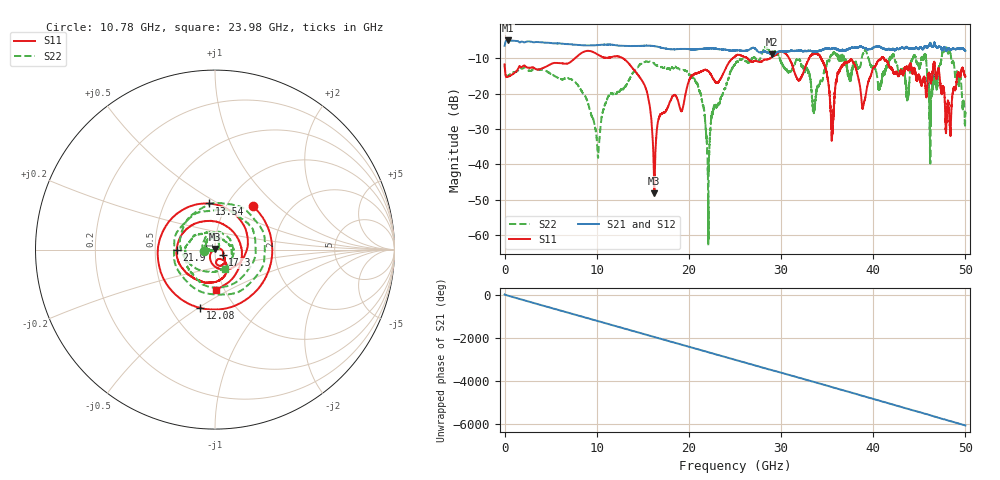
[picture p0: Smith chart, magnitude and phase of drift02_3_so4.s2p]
!Created with skrf (http://scikit-rf.org).
# Hz S RI R 50.0
!freq ReS11 ImS11 ReS21 ImS21 ReS12 ImS12 ReS22 ImS22
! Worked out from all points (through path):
!   10001 points, 300 kHz to 50 GHz, reference 50 ohm
!   highest |S21| = -5.04 dB at 325.3 MHz (marker M1); lowest = -8.9 dB at 28.98 GHz (marker M2)
!   group delay of S21, straight-line fit = 336 ps
!   lowest |S11| = -48.1 dB at 16.25 GHz (marker M3), VSWR 1.01, Z = 49.8 + j0.313 ohm
!   |S11| at or under -10 dB: start of sweep to 7.668 GHz; 12.81 GHz to 24.79 GHz (11.98 GHz wide, 63.7 % of centre); 41.13 GHz to end of sweep (the widest 3 of 9)
!   |S22| runs from -63.1 to -6.9 dB; largest |S21 - S12| = 0.033
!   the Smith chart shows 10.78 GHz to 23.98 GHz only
!   S11 on the Smith chart (normalised r, x): 10.78 GHz: 1.32, +0.71; 12.08 GHz: 0.70, -0.51; 13.54 GHz: 0.82, +0.45; 17.3 GHz: 1.09, -0.07; 21.9 GHz: 0.65, -0.00; 23.98 GHz: 0.91, -0.43
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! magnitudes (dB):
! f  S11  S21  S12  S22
! 300 kHz  -11.8  -6.6  -6.5  -11.7
! 325.3 MHz  -15.3  -5.0  -5.0  -15.1
! 8.335 GHz  -8.6  -6.4  -6.4  -19.2
! 10.11 GHz  -9.0  -6.4  -6.4  -37.1
! 10.78 GHz  -9.8  -6.2  -6.2  -23.9
! 12.08 GHz  -9.5  -6.4  -6.4  -20.1
! 13.54 GHz  -11.7  -6.6  -6.6  -15.9
! 16.25 GHz  -48.1  -6.7  -6.6  -11.6
! 16.67 GHz  -27.5  -6.9  -6.8  -12.2
! 17.3 GHz  -25.5  -7.2  -7.2  -12.8
! 20.75 GHz  -14.3  -7.5  -7.5  -16.9
! 21.9 GHz  -13.4  -7.3  -7.3  -32.3
! 23.98 GHz  -13.0  -7.7  -7.7  -18.4
! 25 GHz  -9.5  -7.9  -7.9  -11.7
! 28.98 GHz  -9.8  -8.9  -8.9  -8.2
! 33.34 GHz  -9.1  -8.0  -8.0  -20.5
! 35.55 GHz  -31.2  -7.3  -7.2  -9.1
! 36.81 GHz  -11.8  -7.9  -7.9  -10.1
! 41.67 GHz  -12.0  -7.4  -7.5  -11.7
! 46.25 GHz  -17.1  -6.1  -6.1  -22.0
! 48.12 GHz  -22.7  -7.3  -7.2  -8.8
! 50 GHz  -15.2  -8.0  -8.0  -25.9
